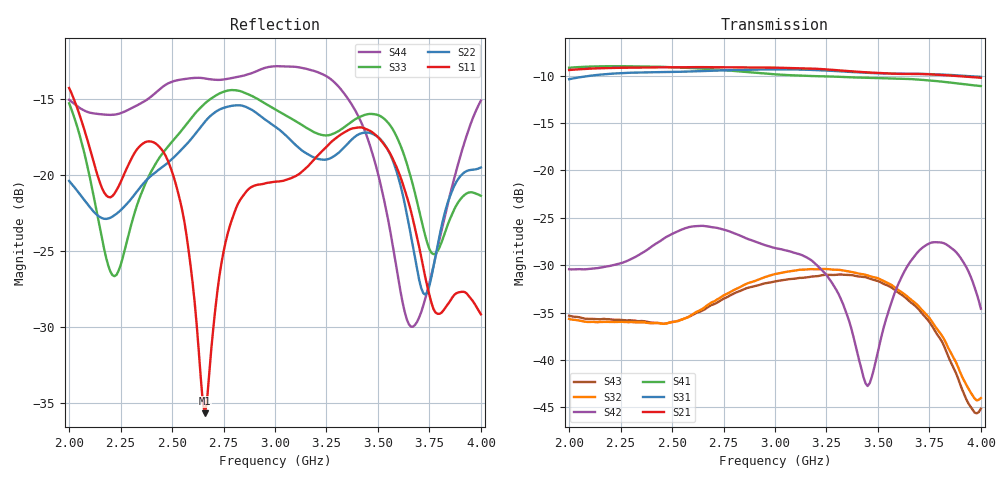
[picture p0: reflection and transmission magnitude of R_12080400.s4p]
!Agilent Technologies,N5224A,MY51441093,A.09.90.21
!Agilent N5224A: A.09.90.21
!Date: Friday, December 19, 2025 16:48:15
!Correction: S11(Full 4 Port(1,2,3,4))
!S12(Full 4 Port(1,2,3,4))
!S13(Full 4 Port(1,2,3,4))
!S14(Full 4 Port(1,2,3,4))
!S21(Full 4 Port(1,2,3,4))
!S22(Full 4 Port(1,2,3,4))
!S23(Full 4 Port(1,2,3,4))
!S24(Full 4 Port(1,2,3,4))
!S31(Full 4 Port(1,2,3,4))
!S32(Full 4 Port(1,2,3,4))
!S33(Full 4 Port(1,2,3,4))
!S34(Full 4 Port(1,2,3,4))
!S41(Full 4 Port(1,2,3,4))
!S42(Full 4 Port(1,2,3,4))
!S43(Full 4 Port(1,2,3,4))
!S44(Full 4 Port(1,2,3,4))
!S4P File: Measurements: <S11,S12,S13,S14>,
!<S21,S22,S23,S24>,
!<S31,S32,S33,S34>,
!<S41,S42,S43,S44>:
# Hz S  dB  R 50
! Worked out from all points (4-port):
!   201 points, 2 GHz to 4 GHz, reference 50 ohm
!   strongest paths, dB at 2 GHz, 2.5 GHz, 3 GHz, 3.5 GHz, 4 GHz:
!     S21: -9.4, -9.1, -9.1, -9.7, -10.2
!     S31: -10.4, -9.6, -9.3, -9.7, -10.1
!     S41: -9.2, -9.1, -9.8, -10.2, -11.1
!     S42: -30.4, -26.7, -28.2, -39.1, -34.6
!     S32: -35.7, -36.0, -30.9, -31.4, -44.0
!     S43: -35.3, -36.0, -31.7, -31.7, -45.1
!   lowest |S11| = -35.7 dB at 2.66 GHz (marker M1), VSWR 1.03, Z = 50.6 - j1.54 ohm
!   |S11| at or under -10 dB: start of sweep to end of sweep
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2e9  -14.24 -51.0  -9.36 -74.4  -10.30 121.0  -9.27 -169.4
     -9.39 -74.4  -20.37 109.1  -35.64 -121.0  -30.56 -67.6
     -10.36 121.1  -35.67 -120.8  -15.26 152.3  -35.50 143.2
     -9.15 -169.2  -30.43 -67.3  -35.33 143.3  -15.03 3.6
2.37e9  -17.81 -62.1  -9.10 94.8  -9.58 -84.4  -9.15 3.9
        -9.12 94.7  -20.39 -90.5  -36.01 -148.8  -28.66 41.2
        -9.64 -84.4  -36.07 -148.8  -20.56 -95.0  -36.12 120.8
        -9.02 3.9  -28.51 41.4  -35.94 120.9  -15.09 -94.7
2.66e9  -35.68 -68.2  -9.05 -51.3  -9.43 125.6  -9.38 -141.7
        -9.08 -51.4  -16.46 -164.5  -34.39 -43.7  -26.00 -148.2
        -9.50 125.7  -34.42 -43.5  -15.26 -168.8  -34.81 -135.1
        -9.27 -141.6  -25.87 -148.0  -34.65 -135.2  -13.62 -171.9
3.09e9  -20.11 -63.9  -9.14 94.4  -9.26 -89.6  -10.03 5.5
        -9.19 94.3  -17.87 108.6  -30.57 -61.4  -28.79 -18.5
        -9.33 -89.3  -30.60 -61.1  -16.35 106.6  -31.59 -150.3
        -9.95 5.7  -28.67 -18.2  -31.43 -150.4  -12.84 93.3
3.37e9  -16.93 -93.7  -9.49 -44.3  -9.52 133.7  -10.22 -132.8
        -9.53 -44.4  -17.68 91.0  -30.64 55.0  -36.73 -161.8
        -9.60 134.0  -30.69 55.3  -16.49 84.2  -31.20 -34.4
        -10.17 -132.6  -36.63 -161.7  -31.04 -34.6  -15.27 12.7
3.67e9  -22.90 -152.4  -9.77 169.8  -9.71 -9.2  -10.40 77.2
        -9.81 169.9  -24.71 36.9  -33.74 150.0  -29.33 147.1
        -9.80 -8.8  -33.80 150.3  -20.65 25.9  -34.22 63.2
        -10.36 77.6  -29.26 147.5  -34.10 63.2  -29.98 -158.6
4e9  -29.16 -99.5  -10.16 7.7  -10.02 -167.3  -11.12 -88.5
     -10.21 8.0  -19.48 75.0  -44.00 140.9  -34.67 -56.6
     -10.11 -166.7  -44.02 141.7  -21.35 59.9  -45.28 38.7
     -11.09 -87.8  -34.59 -56.2  -45.15 38.8  -15.08 89.1
